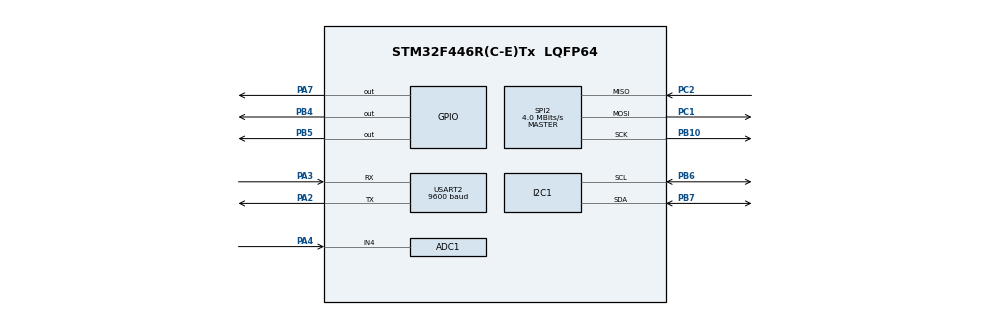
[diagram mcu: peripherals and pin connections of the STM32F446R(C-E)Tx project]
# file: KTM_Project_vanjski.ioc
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ADC1.Channel-0\#ChannelRegularConversion=ADC_CHANNEL_4
ADC1.NbrOfConversionFlag=1
ADC1.Rank-0\#ChannelRegularConversion=1
ADC1.SamplingTime-0\#ChannelRegularConversion=ADC_SAMPLETIME_3CYCLES
ADC1.master=1
I2C1.I2C_Mode=I2C_Fast
Mcu.Family=STM32F4
Mcu.Name=STM32F446R(C-E)Tx
Mcu.Package=LQFP64
NVIC.I2C1_EV_IRQn=true\:0\:0\:false\:false\:true\:true\:true\:true
NVIC.PriorityGroup=NVIC_PRIORITYGROUP_4
PA13.Mode=Serial_Wire
PA13.Signal=SYS_JTMS-SWDIO
PA14.Mode=Serial_Wire
PA14.Signal=SYS_JTCK-SWCLK
PA2.Mode=Asynchronous
PA2.Signal=USART2_TX
PA3.Mode=Asynchronous
PA3.Signal=USART2_RX
PA4.Signal=ADCx_IN4
PA7.Signal=GPIO_Output
PB10.Mode=Full_Duplex_Master
PB10.Signal=SPI2_SCK
PB4.Signal=GPIO_Output
PB5.Signal=GPIO_Output
PB6.Mode=I2C
PB6.Signal=I2C1_SCL
PB7.Mode=I2C
PB7.Signal=I2C1_SDA
PC1.Mode=Full_Duplex_Master
PC1.Signal=SPI2_MOSI
PC2.Mode=Full_Duplex_Master
PC2.Signal=SPI2_MISO
ProjectManager.HeapSize=0x200
ProjectManager.StackSize=0x400
ProjectManager.TargetToolchain=STM32CubeIDE
RCC.CortexFreq_Value=16000000
RCC.USBFreq_Value=96000000
RCC.VCOOutputFreq_Value=192000000
SH.ADCx_IN4.0=ADC1_IN4,IN4
SPI2.BaudRatePrescaler=SPI_BAUDRATEPRESCALER_4
SPI2.CalculateBaudRate=4.0 MBits/s
SPI2.DataSize=SPI_DATASIZE_16BIT
SPI2.Direction=SPI_DIRECTION_2LINES
SPI2.Mode=SPI_MODE_MASTER
SPI2.VirtualType=VM_MASTER
USART2.BaudRate=9600
USART2.VirtualMode=VM_ASYNC
board=custom

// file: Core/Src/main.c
/* USER CODE BEGIN Header */
/**
  ******************************************************************************
  * @file           : main.c
  * @brief          : Main program body
  ******************************************************************************
  * @attention
  *
  * Copyright (c) 2025 STMicroelectronics.
  * All rights reserved.
  *
  * This software is licensed under terms that can be found in the LICENSE file
  * in the root directory of this software component.
  * If no LICENSE file comes with this software, it is provided AS-IS.
  *
  ******************************************************************************
  */
/* USER CODE END Header */
#include "main.h"
#include "adc.h"
#include "i2c.h"
#include "spi.h"
#include "usart.h"
#include "gpio.h"
#include "NRF24L01.h"
#include "string.h"

void SystemClock_Config(void);

/* USER CODE BEGIN 0 */

//LSB------------------MSB
uint8_t RxAddress[] = {0x00,0xDD,0xCC,0xBB,0xAA};
uint8_t RxData[32];

uint8_t data[50];

int _write(int file, char *ptr, int len)
{
    HAL_UART_Transmit(&huart2, (uint8_t *)ptr, len, 100);
    return len;
}
/* USER CODE END 0 */

int main(void)
{

  /* USER CODE BEGIN 1 */
	uint8_t HTU21D_RX_Data[3];
	float HTU21D_Temperature;
	float HTU21D_Humidity;
	uint16_t HTU21D_ADC_Raw;
	uint8_t HTU21D_Temp_Cmd = 0xE3;
	uint8_t HTU21D_Humi_Cmd = 0xE5;
	#define HTU21D_Adress (0x40 << 1)

	#define HTU21D_POLY 0x13100
  /* USER CODE END 1 */

  /* MCU Configuration--------------------------------------------------------*/

  /* Reset of all peripherals, Initializes the Flash interface and the Systick. */
  HAL_Init();

  /* Configure the system clock */
  SystemClock_Config();

  /* Initialize all configured peripherals */
  MX_GPIO_Init();
  MX_ADC1_Init();
  MX_I2C1_Init();
  MX_SPI2_Init();
  MX_USART2_UART_Init();
  /* USER CODE BEGIN 2 */

  NRF24_Init();

  NRF24_RxMode(RxAddress, 10);

  NRF24_ReadAll(data);

  uint16_t pritisak=0;
  uint8_t relej;
  uint8_t temp=0;

  /* USER CODE END 2 */

  /* Infinite loop */
  /* USER CODE BEGIN WHILE */
  while (1)
  {

	  HAL_GPIO_WritePin(GPIOA, GPIO_PIN_7, relej);

	  HAL_ADC_Start(&hadc1);
	  HAL_ADC_PollForConversion(&hadc1, HAL_MAX_DELAY);
	  pritisak = HAL_ADC_GetValue(&hadc1);

	  HAL_I2C_Mem_Read_IT(&hi2c1, HTU21D_Adress, HTU21D_Temp_Cmd, I2C_MEMADD_SIZE_8BIT, HTU21D_RX_Data, 3);
	  	HTU21D_ADC_Raw = ((uint16_t)(HTU21D_RX_Data[0] << 8) | (HTU21D_RX_Data[1]));
	  	temp = (float)(HTU21D_ADC_Raw  / 65536.00)* 175.72 - 46.85;
	  	HAL_Delay(100);

		  if (isDataAvailable(2) == 1)
		  {
			  NRF24_Receive(RxData);
			  printf("Picka");
		  }
		  else{
  		  printf("Relej: %d\r\n", relej);
  		  printf("P: %d\r\n", pritisak);
  		  printf("R: %d\r\n", HTU21D_ADC_Raw);
  		  printf("T: %d\r\n", temp);
		  }

    /* USER CODE END WHILE */

  }
}

void SystemClock_Config(void)
{
  RCC_OscInitTypeDef RCC_OscInitStruct = {0};
  RCC_ClkInitTypeDef RCC_ClkInitStruct = {0};

  /** Configure the main internal regulator output voltage
  */
  __HAL_RCC_PWR_CLK_ENABLE();
  __HAL_PWR_VOLTAGESCALING_CONFIG(PWR_REGULATOR_VOLTAGE_SCALE3);

  /** Initializes the RCC Oscillators according to the specified parameters
  * in the RCC_OscInitTypeDef structure.
  */
  RCC_OscInitStruct.OscillatorType = RCC_OSCILLATORTYPE_HSI;
  RCC_OscInitStruct.HSIState = RCC_HSI_ON;
  RCC_OscInitStruct.HSICalibrationValue = RCC_HSICALIBRATION_DEFAULT;
  RCC_OscInitStruct.PLL.PLLState = RCC_PLL_NONE;
  if (HAL_RCC_OscConfig(&RCC_OscInitStruct) != HAL_OK)
  {
    Error_Handler();
  }

  /** Initializes the CPU, AHB and APB buses clocks
  */
  RCC_ClkInitStruct.ClockType = RCC_CLOCKTYPE_HCLK|RCC_CLOCKTYPE_SYSCLK
                              |RCC_CLOCKTYPE_PCLK1|RCC_CLOCKTYPE_PCLK2;
  RCC_ClkInitStruct.SYSCLKSource = RCC_SYSCLKSOURCE_HSI;
  RCC_ClkInitStruct.AHBCLKDivider = RCC_SYSCLK_DIV1;
  RCC_ClkInitStruct.APB1CLKDivider = RCC_HCLK_DIV1;
  RCC_ClkInitStruct.APB2CLKDivider = RCC_HCLK_DIV1;

  if (HAL_RCC_ClockConfig(&RCC_ClkInitStruct, FLASH_LATENCY_0) != HAL_OK)
  {
    Error_Handler();
  }
}

void Error_Handler(void)
{
  __disable_irq();
  while (1)
  {
  }
}
